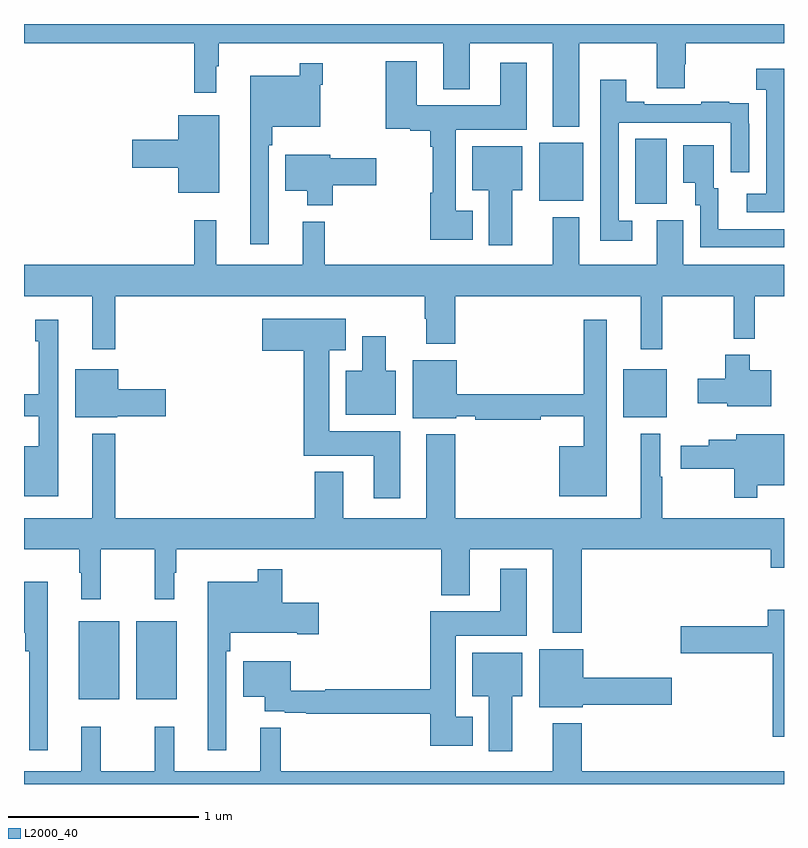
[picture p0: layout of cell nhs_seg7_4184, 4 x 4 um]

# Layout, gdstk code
import gdstk
lib = gdstk.Library(unit=1e-6, precision=1e-09)
def R(c, l, rs):  # rectangles x0, y0, x1, y1
    for r in rs: c.add(gdstk.rectangle(r[:2], r[2:], *l))
def P(c, l, *ps):  # polygons
    for p in ps: c.add(gdstk.Polygon(p, *l))
L2000_40 = (2000, 40)

nhs_seg7_4184 = lib.new_cell('nhs_seg7_4184')
R(nhs_seg7_4184, L2000_40, [(375.287,1046.447,375.502,1046.857), (375.59,1046.447,375.805,1046.857), (378.155,1047.929,378.382,1048.183), (378.218,1049.053,378.382,1049.396), (377.711,1049.069,377.944,1049.374)])
P(nhs_seg7_4184, L2000_40, [(377.923,1049.9),(378.329,1049.9),(378.329,1049.662),(378.477,1049.662),(378.477,1049.787),(378.482,1049.787),(378.482,1049.9),(379,1049.9),(379,1050),(375,1050),(375,1049.9),(375.895,1049.9),(375.895,1049.637),(376.012,1049.637),(376.012,1049.777),(376.024,1049.777),(376.024,1049.9),(377.207,1049.9),(377.207,1049.657),(377.347,1049.657),(377.347,1049.9),(377.783,1049.9),(377.783,1049.459),(377.923,1049.459)],
  [(377.362,1049.017),(377.272,1049.017),(377.272,1049.444),(377.647,1049.444),(377.647,1049.797),(377.507,1049.797),(377.507,1049.572),(377.068,1049.572),(377.068,1049.803),(376.903,1049.803),(376.903,1049.45),(377.034,1049.45),(377.034,1049.438),(377.138,1049.438),(377.138,1049.354),(377.15,1049.354),(377.15,1049.113),(377.138,1049.113),(377.138,1048.865),(377.362,1048.865)],
  [(376.287,1049.363),(376.307,1049.363),(376.307,1049.459),(376.56,1049.459),(376.56,1049.681),(376.573,1049.681),(376.573,1049.794),(376.452,1049.794),(376.452,1049.728),(376.19,1049.728),(376.19,1048.842),(376.287,1048.842)],
  [(379,1049.764),(378.855,1049.764),(378.855,1049.654),(378.906,1049.654),(378.906,1049.106),(378.804,1049.106),(378.804,1049.01),(379,1049.01)],
  [(378.202,1048.965),(378.129,1048.965),(378.129,1049.481),(378.72,1049.481),(378.72,1049.22),(378.816,1049.22),(378.816,1049.474),(378.815,1049.474),(378.815,1049.583),(378.713,1049.583),(378.713,1049.59),(378.565,1049.59),(378.565,1049.577),(378.265,1049.577),(378.265,1049.59),(378.169,1049.59),(378.169,1049.707),(378.033,1049.707),(378.033,1048.86),(378.202,1048.86)],
  [(376.027,1049.521),(375.812,1049.521),(375.812,1049.39),(375.57,1049.39),(375.57,1049.243),(375.812,1049.243),(375.812,1049.111),(376.027,1049.111)],
  [(379,1048.92),(378.655,1048.92),(378.655,1049.136),(378.631,1049.136),(378.631,1049.362),(378.47,1049.362),(378.47,1049.165),(378.533,1049.165),(378.533,1049.046),(378.558,1049.046),(378.558,1048.824),(379,1048.824)],
  [(377.569,1049.126),(377.623,1049.126),(377.623,1049.356),(377.36,1049.356),(377.36,1049.126),(377.447,1049.126),(377.447,1048.836),(377.569,1048.836)],
  [(376.625,1049.152),(376.855,1049.152),(376.855,1049.294),(376.612,1049.294),(376.612,1049.311),(376.376,1049.311),(376.376,1049.123),(376.49,1049.123),(376.49,1049.045),(376.625,1049.045)],
  [(375.481,1048.568),(377.11,1048.568),(377.11,1048.448),(377.117,1048.448),(377.117,1048.316),(377.27,1048.316),(377.27,1048.568),(378.245,1048.568),(378.245,1048.287),(378.359,1048.287),(378.359,1048.568),(378.735,1048.568),(378.735,1048.343),(378.845,1048.343),(378.845,1048.568),(379,1048.568),(379,1048.732),(378.469,1048.732),(378.469,1048.968),(378.329,1048.968),(378.329,1048.732),(377.923,1048.732),(377.923,1048.984),(377.783,1048.984),(377.783,1048.732),(376.583,1048.732),(376.583,1048.96),(376.466,1048.96),(376.466,1048.732),(376.013,1048.732),(376.013,1048.966),(375.895,1048.966),(375.895,1048.732),(375,1048.732),(375,1048.568),(375.359,1048.568),(375.359,1048.287),(375.481,1048.287)],
  [(376.981,1047.856),(376.606,1047.856),(376.606,1048.283),(376.693,1048.283),(376.693,1048.45),(376.254,1048.45),(376.254,1048.28),(376.472,1048.28),(376.472,1047.728),(376.841,1047.728),(376.841,1047.504),(376.981,1047.504)],
  [(378.067,1048.444),(377.946,1048.444),(377.946,1048.052),(377.278,1048.052),(377.278,1048.231),(377.045,1048.231),(377.045,1047.926),(377.274,1047.926),(377.274,1047.936),(377.374,1047.936),(377.374,1047.916),(377.72,1047.916),(377.72,1047.935),(377.946,1047.935),(377.946,1047.778),(377.816,1047.778),(377.816,1047.515),(378.067,1047.515)],
  [(375.181,1048.444),(375.06,1048.444),(375.06,1048.331),(375.077,1048.331),(375.077,1048.052),(375,1048.052),(375,1047.935),(375.077,1047.935),(375.077,1047.778),(375,1047.778),(375,1047.515),(375.181,1047.515)],
  [(376.957,1048.174),(376.903,1048.174),(376.903,1048.357),(376.781,1048.357),(376.781,1048.174),(376.694,1048.174),(376.694,1047.944),(376.957,1047.944)],
  [(378.934,1048.177),(378.82,1048.177),(378.82,1048.258),(378.691,1048.258),(378.691,1048.134),(378.546,1048.134),(378.546,1048.004),(378.702,1048.004),(378.702,1047.989),(378.934,1047.989)],
  [(375.492,1047.935),(375.745,1047.935),(375.745,1048.077),(375.496,1048.077),(375.496,1048.183),(375.269,1048.183),(375.269,1047.929),(375.492,1047.929)],
  [(377.936,1047.236),(378.929,1047.236),(378.929,1047.137),(379,1047.137),(379,1047.4),(378.359,1047.4),(378.359,1047.617),(378.349,1047.617),(378.349,1047.844),(378.245,1047.844),(378.245,1047.4),(377.27,1047.4),(377.27,1047.841),(377.117,1047.841),(377.117,1047.4),(376.681,1047.4),(376.681,1047.643),(376.529,1047.643),(376.529,1047.4),(375.481,1047.4),(375.481,1047.844),(375.359,1047.844),(375.359,1047.4),(375,1047.4),(375,1047.236),(375.291,1047.236),(375.291,1047.113),(375.302,1047.113),(375.302,1046.973),(375.404,1046.973),(375.404,1047.236),(375.688,1047.236),(375.688,1046.973),(375.79,1046.973),(375.79,1047.113),(375.802,1047.113),(375.802,1047.236),(377.195,1047.236),(377.195,1046.993),(377.347,1046.993),(377.347,1047.236),(377.783,1047.236),(377.783,1046.795),(377.936,1046.795)],
  [(378.859,1047.572),(379,1047.572),(379,1047.841),(378.749,1047.841),(378.749,1047.811),(378.605,1047.811),(378.605,1047.781),(378.456,1047.781),(378.456,1047.659),(378.738,1047.659),(378.738,1047.507),(378.859,1047.507)],
  [(377.362,1046.353),(377.272,1046.353),(377.272,1046.78),(377.647,1046.78),(377.647,1047.133),(377.507,1047.133),(377.507,1046.908),(377.138,1046.908),(377.138,1046.498),(376.586,1046.498),(376.586,1046.491),(376.403,1046.491),(376.403,1046.647),(376.154,1046.647),(376.154,1046.459),(376.268,1046.459),(376.268,1046.382),(376.372,1046.382),(376.372,1046.376),(376.486,1046.376),(376.486,1046.37),(377.138,1046.37),(377.138,1046.201),(377.362,1046.201)],
  [(376.065,1046.699),(376.085,1046.699),(376.085,1046.795),(376.439,1046.795),(376.439,1046.788),(376.552,1046.788),(376.552,1046.953),(376.358,1046.953),(376.358,1047.13),(376.23,1047.13),(376.23,1047.064),(375.968,1047.064),(375.968,1046.178),(376.065,1046.178)],
  [(375.124,1047.064),(375,1047.064),(375,1046.795),(375.007,1046.795),(375.007,1046.699),(375.027,1046.699),(375.027,1046.178),(375.124,1046.178)],
  [(379,1046.916),(378.914,1046.916),(378.914,1046.829),(378.456,1046.829),(378.456,1046.687),(378.94,1046.687),(378.94,1046.25),(379,1046.25)],
  [(377.94,1046.416),(378.409,1046.416),(378.409,1046.558),(377.944,1046.558),(377.944,1046.71),(377.711,1046.71),(377.711,1046.405),(377.94,1046.405)],
  [(377.569,1046.462),(377.623,1046.462),(377.623,1046.692),(377.36,1046.692),(377.36,1046.462),(377.447,1046.462),(377.447,1046.172),(377.569,1046.172)],
  [(379,1046.068),(377.936,1046.068),(377.936,1046.32),(377.783,1046.32),(377.783,1046.068),(376.352,1046.068),(376.352,1046.297),(376.244,1046.297),(376.244,1046.068),(375.791,1046.068),(375.791,1046.302),(375.688,1046.302),(375.688,1046.068),(375.404,1046.068),(375.404,1046.302),(375.302,1046.302),(375.302,1046.068),(375,1046.068),(375,1046),(379,1046)])

lib.write_gds('nhs_seg7_4184.gds')
